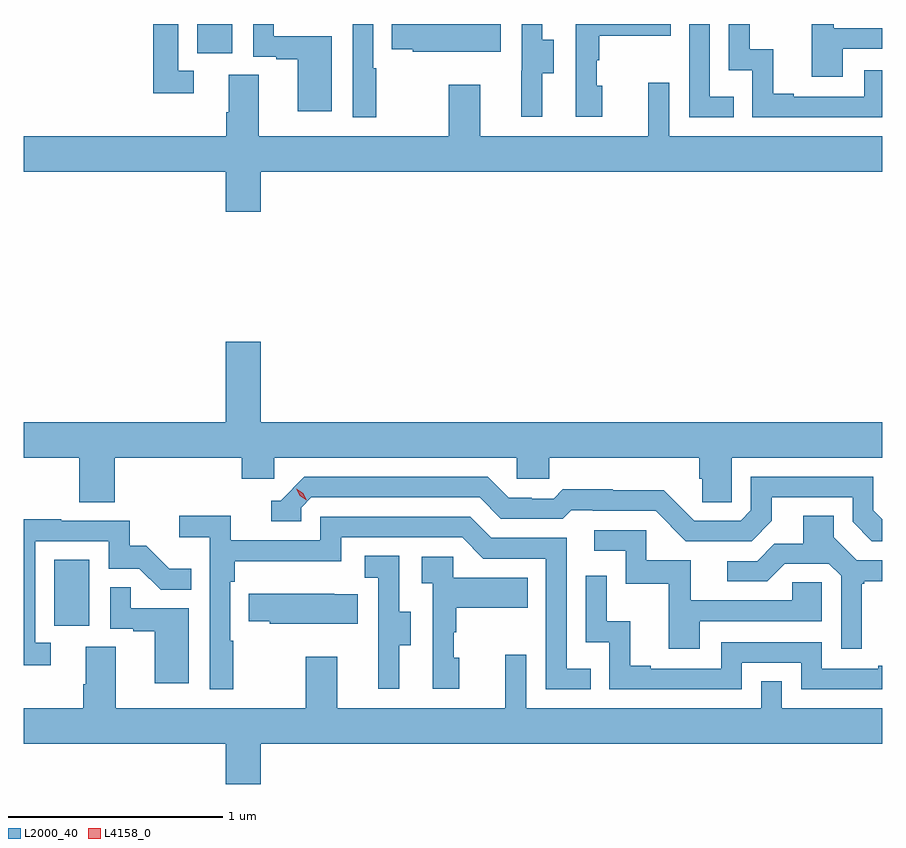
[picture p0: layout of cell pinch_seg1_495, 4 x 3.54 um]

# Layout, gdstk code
import gdstk
lib = gdstk.Library(unit=1e-6, precision=1e-09)
def R(c, l, rs):  # rectangles x0, y0, x1, y1
    for r in rs: c.add(gdstk.rectangle(r[:2], r[2:], *l))
def P(c, l, *ps):  # polygons
    for p in ps: c.add(gdstk.Polygon(p, *l))
L2000_40 = (2000, 40)
L4158_0 = (4158, 0)

pinch_seg1_495 = lib.new_cell('pinch_seg1_495')
R(pinch_seg1_495, L2000_40, [(1141.232,534.966,1141.396,535.273), (1141.898,537.63,1142.062,537.767)])
P(pinch_seg1_495, L2000_40, [(1143.505,537.538),(1143.559,537.538),(1143.559,537.693),(1143.504,537.693),(1143.504,537.767),(1143.408,537.767),(1143.408,537.549),(1143.407,537.549),(1143.407,537.336),(1143.505,537.336)],
  [(1144.397,537.429),(1144.284,537.429),(1144.284,537.767),(1144.188,537.767),(1144.188,537.333),(1144.397,537.333)],
  [(1142.731,537.56),(1142.718,537.56),(1142.718,537.767),(1142.622,537.767),(1142.622,537.333),(1142.731,537.333)],
  [(1143.311,537.767),(1142.803,537.767),(1142.803,537.649),(1142.901,537.649),(1142.901,537.638),(1143.311,537.638)],
  [(1141.882,537.549),(1141.809,537.549),(1141.809,537.767),(1141.693,537.767),(1141.693,537.444),(1141.882,537.444)],
  [(1142.524,537.711),(1142.255,537.711),(1142.255,537.767),(1142.16,537.767),(1142.16,537.615),(1142.267,537.615),(1142.267,537.603),(1142.366,537.603),(1142.366,537.36),(1142.524,537.36)],
  [(1143.784,537.48),(1143.759,537.48),(1143.759,537.599),(1143.769,537.599),(1143.769,537.713),(1144.103,537.713),(1144.103,537.767),(1143.66,537.767),(1143.66,537.336),(1143.784,537.336)],
  [(1144.903,537.651),(1145.089,537.651),(1145.089,537.747),(1144.861,537.747),(1144.861,537.767),(1144.759,537.767),(1144.759,537.522),(1144.903,537.522)],
  [(1145.089,537.552),(1145.004,537.552),(1145.004,537.429),(1144.675,537.429),(1144.675,537.442),(1144.58,537.442),(1144.58,537.65),(1144.47,537.65),(1144.47,537.767),(1144.374,537.767),(1144.374,537.552),(1144.482,537.552),(1144.482,537.333),(1145.089,537.333)],
  [(1142.194,537.08),(1145.089,537.08),(1145.089,537.244),(1144.095,537.244),(1144.095,537.493),(1143.998,537.493),(1143.998,537.244),(1143.217,537.244),(1143.217,537.484),(1143.07,537.484),(1143.07,537.244),(1142.185,537.244),(1142.185,537.53),(1142.045,537.53),(1142.045,537.356),(1142.033,537.356),(1142.033,537.244),(1141.089,537.244),(1141.089,537.08),(1142.03,537.08),(1142.03,536.892),(1142.194,536.892)],
  [(1141.514,535.748),(1142.105,535.748),(1142.105,535.65),(1142.256,535.65),(1142.256,535.748),(1143.387,535.748),(1143.387,535.65),(1143.537,535.65),(1143.537,535.748),(1144.235,535.748),(1144.235,535.65),(1144.249,535.65),(1144.249,535.54),(1144.386,535.54),(1144.386,535.748),(1145.089,535.748),(1145.089,535.912),(1142.194,535.912),(1142.194,536.287),(1142.03,536.287),(1142.03,535.912),(1141.089,535.912),(1141.089,535.748),(1141.349,535.748),(1141.349,535.54),(1141.514,535.54)],
  [(1144.573,535.453),(1144.573,535.563),(1144.95,535.563),(1144.95,535.449),(1145.04,535.359),(1145.089,535.359),(1145.089,535.46),(1145.046,535.503),(1145.046,535.659),(1144.476,535.659),(1144.476,535.503),(1144.428,535.455),(1144.212,535.455),(1144.07,535.597),(1143.834,535.597),(1143.834,535.6),(1143.601,535.6),(1143.559,535.557),(1143.456,535.557),(1143.456,535.56),(1143.349,535.56),(1143.25,535.659),(1142.397,535.659),(1142.286,535.548),(1142.243,535.548),(1142.243,535.452),(1142.382,535.452),(1142.382,535.515),(1142.43,535.563),(1143.213,535.563),(1143.312,535.464),(1143.601,535.464),(1143.64,535.503),(1143.739,535.503),(1143.739,535.5),(1144.032,535.5),(1144.173,535.359),(1144.479,535.359)],
  [(1142.065,534.896),(1142.052,534.896),(1142.052,535.169),(1142.072,535.169),(1142.072,535.265),(1142.568,535.265),(1142.568,535.377),(1143.132,535.377),(1143.231,535.278),(1143.522,535.278),(1143.522,534.669),(1143.731,534.669),(1143.731,534.765),(1143.618,534.765),(1143.618,535.374),(1143.268,535.374),(1143.169,535.473),(1142.472,535.473),(1142.472,535.362),(1142.054,535.362),(1142.054,535.478),(1141.815,535.478),(1141.815,535.376),(1141.956,535.376),(1141.956,534.669),(1142.065,534.669)],
  [(1144.993,535.161),(1145.005,535.161),(1145.005,535.172),(1145.089,535.172),(1145.089,535.269),(1144.968,535.269),(1144.861,535.376),(1144.861,535.478),(1144.721,535.478),(1144.721,535.346),(1144.586,535.346),(1144.506,535.266),(1144.365,535.266),(1144.365,535.173),(1144.552,535.173),(1144.633,535.254),(1144.839,535.254),(1144.896,535.197),(1144.896,534.858),(1144.993,534.858)],
  [(1141.216,534.885),(1141.143,534.885),(1141.143,535.359),(1141.485,535.359),(1141.485,535.23),(1141.629,535.23),(1141.727,535.132),(1141.871,535.132),(1141.871,535.231),(1141.767,535.231),(1141.66,535.338),(1141.584,535.338),(1141.584,535.455),(1141.265,535.455),(1141.265,535.46),(1141.089,535.46),(1141.089,534.78),(1141.216,534.78)],
  [(1144.237,534.987),(1144.806,534.987),(1144.806,535.167),(1144.669,535.167),(1144.669,535.083),(1144.195,535.083),(1144.195,535.269),(1143.99,535.269),(1143.99,535.41),(1143.747,535.41),(1143.747,535.314),(1143.894,535.314),(1143.894,535.161),(1144.093,535.161),(1144.093,534.858),(1144.237,534.858)],
  [(1142.839,534.874),(1142.893,534.874),(1142.893,535.029),(1142.838,535.029),(1142.838,535.292),(1142.679,535.292),(1142.679,535.189),(1142.742,535.189),(1142.742,534.885),(1142.741,534.885),(1142.741,534.672),(1142.839,534.672)],
  [(1143.118,534.816),(1143.093,534.816),(1143.093,534.935),(1143.103,534.935),(1143.103,535.049),(1143.437,535.049),(1143.437,535.189),(1143.09,535.189),(1143.09,535.287),(1142.943,535.287),(1142.943,535.163),(1142.994,535.163),(1142.994,534.672),(1143.118,534.672)],
  [(1144.434,534.792),(1144.71,534.792),(1144.71,534.669),(1145.089,534.669),(1145.089,534.778),(1145.069,534.778),(1145.069,534.765),(1144.806,534.765),(1144.806,534.888),(1144.338,534.888),(1144.338,534.765),(1144.009,534.765),(1144.009,534.778),(1143.914,534.778),(1143.914,534.986),(1143.804,534.986),(1143.804,535.198),(1143.708,535.198),(1143.708,534.888),(1143.816,534.888),(1143.816,534.669),(1144.434,534.669)],
  [(1141.858,535.047),(1141.589,535.047),(1141.589,535.145),(1141.494,535.145),(1141.494,534.951),(1141.601,534.951),(1141.601,534.939),(1141.7,534.939),(1141.7,534.696),(1141.858,534.696)],
  [(1142.645,535.111),(1142.537,535.111),(1142.537,535.114),(1142.137,535.114),(1142.137,534.985),(1142.235,534.985),(1142.235,534.974),(1142.645,534.974)],
  [(1142.194,534.416),(1145.089,534.416),(1145.089,534.58),(1144.62,534.58),(1144.62,534.707),(1144.524,534.707),(1144.524,534.58),(1143.429,534.58),(1143.429,534.829),(1143.332,534.829),(1143.332,534.58),(1142.551,534.58),(1142.551,534.82),(1142.404,534.82),(1142.404,534.58),(1141.519,534.58),(1141.519,534.866),(1141.379,534.866),(1141.379,534.692),(1141.367,534.692),(1141.367,534.58),(1141.089,534.58),(1141.089,534.416),(1142.03,534.416),(1142.03,534.228),(1142.194,534.228)])
P(pinch_seg1_495, L4158_0, [(1142.407,535.55),(1142.376,535.57),(1142.36,535.602),(1142.36,535.603),(1142.36,535.603),(1142.391,535.583),(1142.407,535.55),(1142.407,535.55)])

lib.write_gds('pinch_seg1_495.gds')
